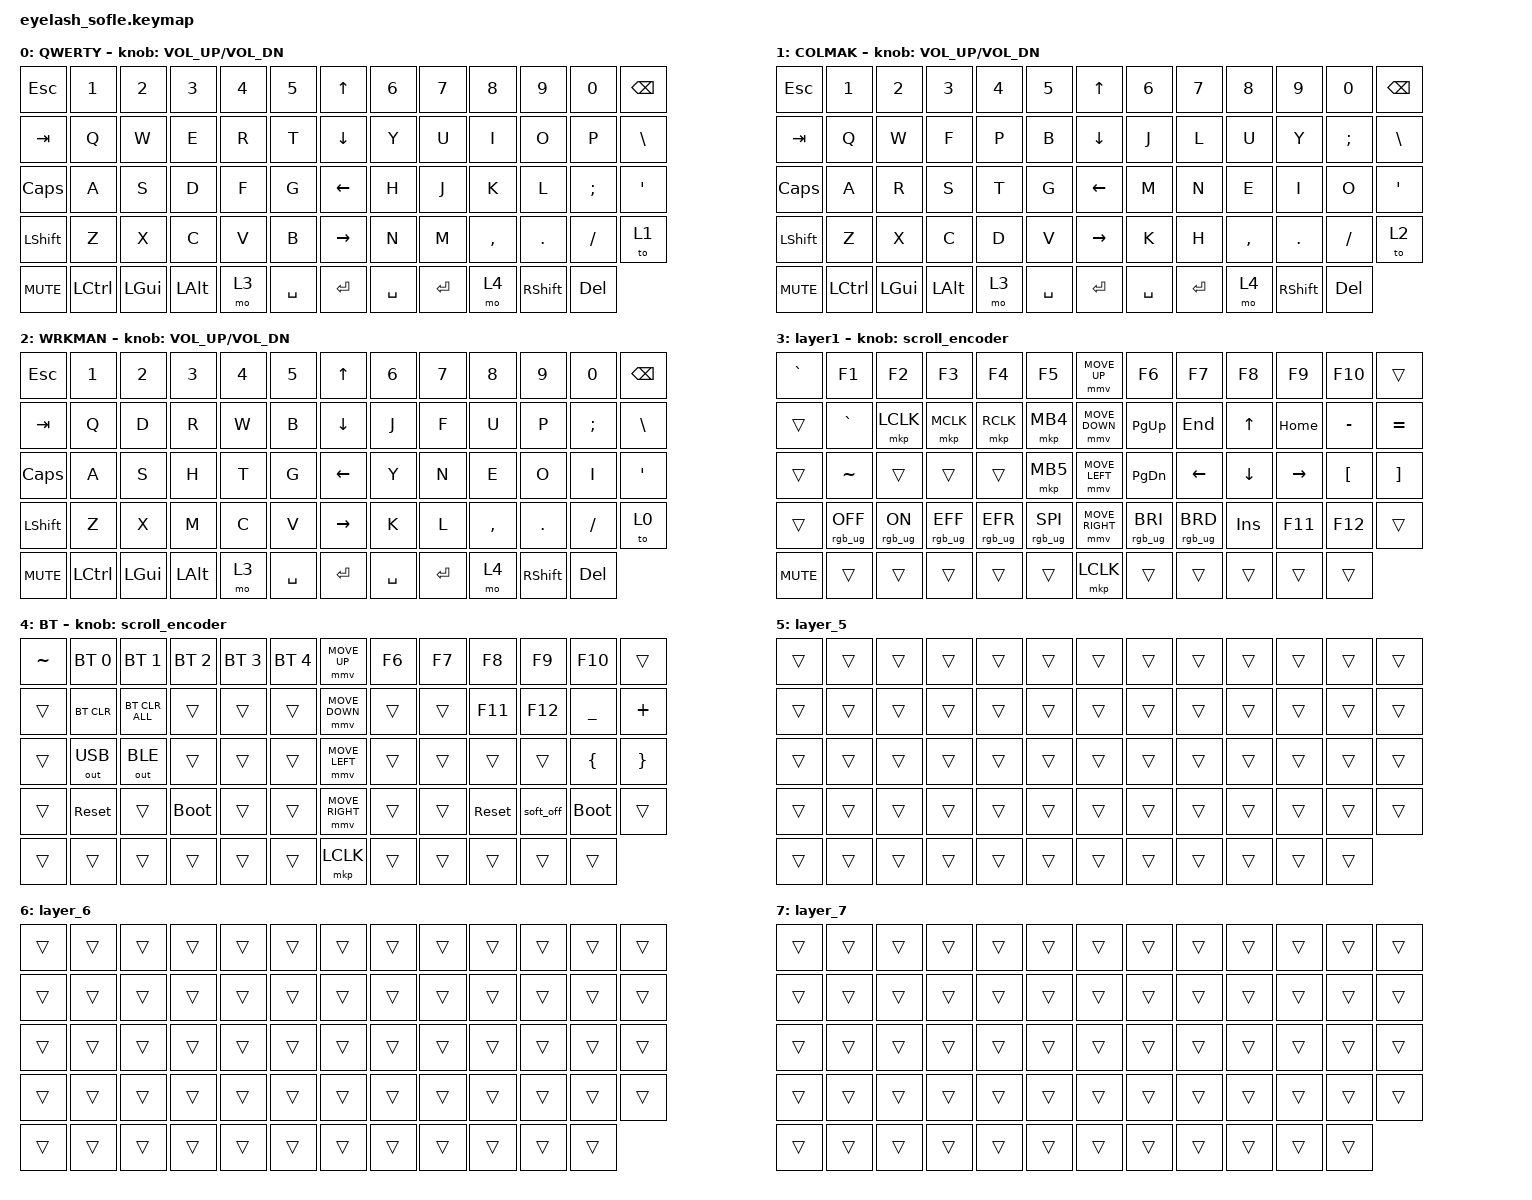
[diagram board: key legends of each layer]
#define ZMK_POINTING_DEFAULT_MOVE_VAL 1200  // 600
#define ZMK_POINTING_DEFAULT_SCRL_VAL 25   // 10

#include <input/processors.dtsi>
#include <zephyr/dt-bindings/input/input-event-codes.h>
#include <behaviors.dtsi>
#include <dt-bindings/zmk/bt.h>
#include <dt-bindings/zmk/keys.h>
#include <dt-bindings/zmk/outputs.h>
#include <dt-bindings/zmk/pointing.h>
#include <dt-bindings/zmk/rgb.h>

&mmv_input_listener { input-processors = <&zip_xy_scaler 2 1>; };

&msc_input_listener { input-processors = <&zip_scroll_scaler 2 1>; };

&msc {
    acceleration-exponent = <1>;      // 0
    time-to-max-speed-ms = <100>;       // 300
    delay-ms = <0>;                   // 0
};

&mmv {
    time-to-max-speed-ms = <500>;
    acceleration-exponent = <1>;
    trigger-period-ms = <16>;
};

/ {
    scroll_encoder: scroll_encoder {
        compatible = "zmk,behavior-sensor-rotate";
        #sensor-binding-cells = <0>;
        bindings = <&msc SCRL_DOWN>, <&msc SCRL_UP>;

        tap-ms = <100>;
    };

    behaviors {
    };

    keymap {
        compatible = "zmk,keymap";

        QWERTY {
            bindings = <
&kp ESC     &kp N1     &kp N2        &kp N3        &kp N4  &kp N5       &kp UP_ARROW     &kp N6     &kp N7     &kp N8     &kp N9           &kp N0      &kp BACKSPACE
&kp TAB     &kp Q      &kp W         &kp E         &kp R   &kp T        &kp DOWN_ARROW   &kp Y      &kp U      &kp I      &kp O            &kp P       &kp BSLH
&kp CAPS    &kp A      &kp S         &kp D         &kp F   &kp G        &kp LEFT_ARROW   &kp H      &kp J      &kp K      &kp L            &kp SEMI    &kp APOS
&kp LSHFT   &kp Z      &kp X         &kp C         &kp V   &kp B        &kp RIGHT_ARROW  &kp N      &kp M      &kp COMMA  &kp DOT          &kp FSLH    &to 1
&kp C_MUTE  &kp LCTRL  &kp LEFT_GUI  &kp LEFT_ALT  &mo 3   &kp SPACE    &kp ENTER        &kp SPACE  &kp ENTER  &mo 4      &kp RIGHT_SHIFT  &kp DELETE
            >;

            sensor-bindings = <&inc_dec_kp C_VOLUME_UP C_VOL_DN>;
            display-name = "QWERTY";
        };

        COLMAK {
            display-name = "COLMAK";
            bindings = <
&kp ESC     &kp N1     &kp N2        &kp N3        &kp N4  &kp N5       &kp UP_ARROW     &kp N6     &kp N7     &kp N8     &kp N9           &kp N0         &kp BACKSPACE
&kp TAB     &kp Q      &kp W         &kp F         &kp P   &kp B        &kp DOWN_ARROW   &kp J      &kp L      &kp U      &kp Y            &kp SEMICOLON  &kp BSLH
&kp CAPS    &kp A      &kp R         &kp S         &kp T   &kp G        &kp LEFT_ARROW   &kp M      &kp N      &kp E      &kp I            &kp O          &kp APOS
&kp LSHFT   &kp Z      &kp X         &kp C         &kp D   &kp V        &kp RIGHT_ARROW  &kp K      &kp H      &kp COMMA  &kp DOT          &kp FSLH       &to 2
&kp C_MUTE  &kp LCTRL  &kp LEFT_GUI  &kp LEFT_ALT  &mo 3   &kp SPACE    &kp ENTER        &kp SPACE  &kp ENTER  &mo 4      &kp RIGHT_SHIFT  &kp DELETE
            >;

            sensor-bindings = <&inc_dec_kp C_VOLUME_UP C_VOL_DN>;
        };

        WRKMAN {
            display-name = "WRKMAN";
            bindings = <
&kp ESC     &kp N1     &kp N2        &kp N3        &kp N4  &kp N5       &kp UP_ARROW     &kp N6     &kp N7     &kp N8     &kp N9           &kp N0         &kp BACKSPACE
&kp TAB     &kp Q      &kp D         &kp R         &kp W   &kp B        &kp DOWN_ARROW   &kp J      &kp F      &kp U      &kp P            &kp SEMICOLON  &kp BSLH
&kp CAPS    &kp A      &kp S         &kp H         &kp T   &kp G        &kp LEFT_ARROW   &kp Y      &kp N      &kp E      &kp O            &kp I          &kp APOS
&kp LSHFT   &kp Z      &kp X         &kp M         &kp C   &kp V        &kp RIGHT_ARROW  &kp K      &kp L      &kp COMMA  &kp DOT          &kp FSLH       &to 0
&kp C_MUTE  &kp LCTRL  &kp LEFT_GUI  &kp LEFT_ALT  &mo 3   &kp SPACE    &kp ENTER        &kp SPACE  &kp ENTER  &mo 4      &kp RIGHT_SHIFT  &kp DELETE
            >;

            sensor-bindings = <&inc_dec_kp C_VOLUME_UP C_VOL_DN>;
        };

        layer_1 {
            bindings = <
&kp GRAVE   &kp F1           &kp F2          &kp F3           &kp F4           &kp F5             &mmv MOVE_UP     &kp F6           &kp F7           &kp F8      &kp F9     &kp F10           &trans
&trans      &kp GRAVE        &mkp LCLK       &mkp MCLK        &mkp RCLK        &mkp MB4           &mmv MOVE_DOWN   &kp PG_UP        &kp END          &kp UP      &kp HOME   &kp MINUS         &kp EQUAL
&trans      &kp TILDE        &trans          &trans           &trans           &mkp MB5           &mmv MOVE_LEFT   &kp PG_DN        &kp LEFT         &kp DOWN    &kp RIGHT  &kp LEFT_BRACKET  &kp RIGHT_BRACKET
&trans      &rgb_ug RGB_OFF  &rgb_ug RGB_ON  &rgb_ug RGB_EFF  &rgb_ug RGB_EFR  &rgb_ug RGB_SPI    &mmv MOVE_RIGHT  &rgb_ug RGB_BRI  &rgb_ug RGB_BRD  &kp INSERT  &kp F11    &kp F12           &trans
&kp C_MUTE  &trans           &trans          &trans           &trans           &trans             &mkp LCLK        &trans           &trans           &trans      &trans     &trans
            >;

            display-name = "layer1";
            sensor-bindings = <&scroll_encoder>;
        };

        BT {
            bindings = <
&kp TILDE  &bt BT_SEL 0  &bt BT_SEL 1    &bt BT_SEL 2  &bt BT_SEL 3  &bt BT_SEL 4    &mmv MOVE_UP     &kp F6  &kp F7  &kp F8      &kp F9     &kp F10      &trans
&trans     &bt BT_CLR    &bt BT_CLR_ALL  &trans        &trans        &trans          &mmv MOVE_DOWN   &trans  &trans  &kp F11     &kp F12    &kp UNDER    &kp PLUS
&trans     &out OUT_USB  &out OUT_BLE    &trans        &trans        &trans          &mmv MOVE_LEFT   &trans  &trans  &trans      &trans     &kp LBRC     &kp RBRC
&trans     &sys_reset    &trans          &bootloader   &trans        &trans          &mmv MOVE_RIGHT  &trans  &trans  &sys_reset  &soft_off  &bootloader  &trans
&trans     &trans        &trans          &trans        &trans        &trans          &mkp LCLK        &trans  &trans  &trans      &trans     &trans
            >;

            sensor-bindings = <&scroll_encoder>;
        };

        layer_5 {
            bindings = <
&trans  &trans  &trans  &trans  &trans  &trans    &trans  &trans  &trans  &trans  &trans  &trans  &trans
&trans  &trans  &trans  &trans  &trans  &trans    &trans  &trans  &trans  &trans  &trans  &trans  &trans
&trans  &trans  &trans  &trans  &trans  &trans    &trans  &trans  &trans  &trans  &trans  &trans  &trans
&trans  &trans  &trans  &trans  &trans  &trans    &trans  &trans  &trans  &trans  &trans  &trans  &trans
&trans  &trans  &trans  &trans  &trans  &trans    &trans  &trans  &trans  &trans  &trans  &trans
            >;
        };

        layer_6 {
            bindings = <
&trans  &trans  &trans  &trans  &trans  &trans    &trans  &trans  &trans  &trans  &trans  &trans  &trans
&trans  &trans  &trans  &trans  &trans  &trans    &trans  &trans  &trans  &trans  &trans  &trans  &trans
&trans  &trans  &trans  &trans  &trans  &trans    &trans  &trans  &trans  &trans  &trans  &trans  &trans
&trans  &trans  &trans  &trans  &trans  &trans    &trans  &trans  &trans  &trans  &trans  &trans  &trans
&trans  &trans  &trans  &trans  &trans  &trans    &trans  &trans  &trans  &trans  &trans  &trans
            >;
        };

        layer_7 {
            bindings = <
&trans  &trans  &trans  &trans  &trans  &trans    &trans  &trans  &trans  &trans  &trans  &trans  &trans
&trans  &trans  &trans  &trans  &trans  &trans    &trans  &trans  &trans  &trans  &trans  &trans  &trans
&trans  &trans  &trans  &trans  &trans  &trans    &trans  &trans  &trans  &trans  &trans  &trans  &trans
&trans  &trans  &trans  &trans  &trans  &trans    &trans  &trans  &trans  &trans  &trans  &trans  &trans
&trans  &trans  &trans  &trans  &trans  &trans    &trans  &trans  &trans  &trans  &trans  &trans
            >;
        };
    };
};
